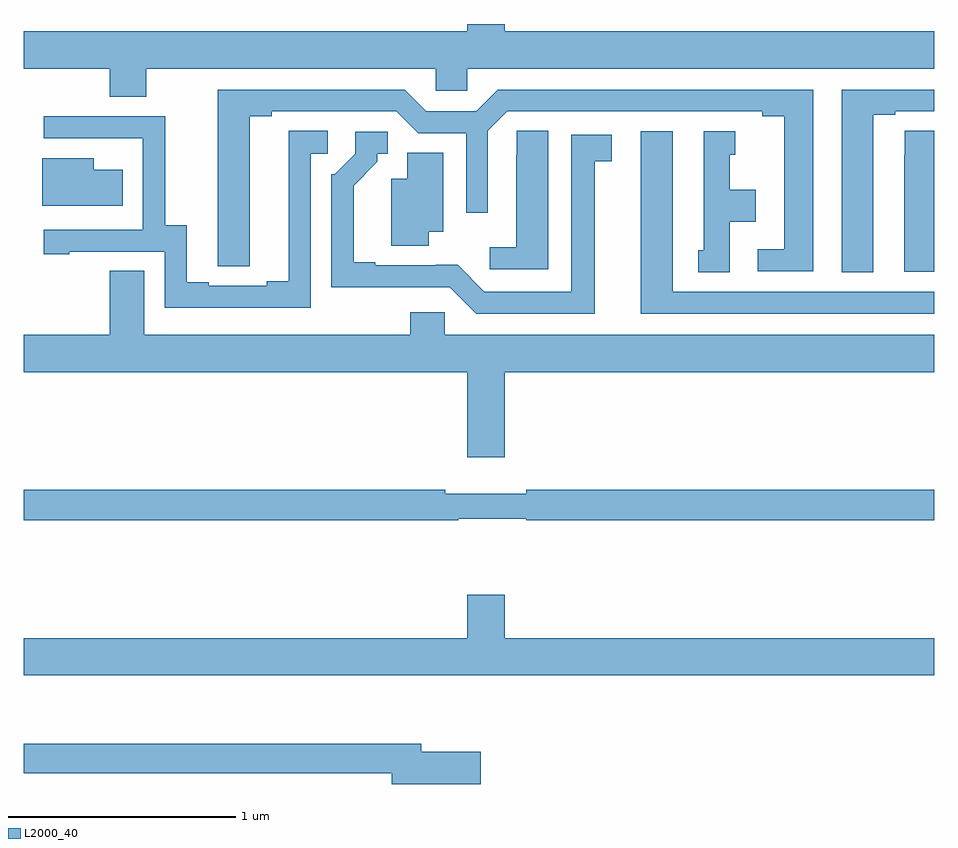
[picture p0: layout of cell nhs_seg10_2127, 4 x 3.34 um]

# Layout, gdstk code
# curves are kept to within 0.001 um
import gdstk
lib = gdstk.Library(unit=1e-6, precision=1e-09)
def P(c, l, *ps):  # polygons
    for p in ps: c.add(gdstk.Polygon(p, *l))
L2000_40 = (2000, 40)

nhs_seg10_2127 = lib.new_cell('nhs_seg10_2127')
P(nhs_seg10_2127, L2000_40, [(223.539,1312.304),(224.811,1312.304),(224.811,1312.206),(224.949,1312.206),(224.949,1312.304),(227,1312.304),(227,1312.468),(225.112,1312.468),(225.112,1312.5),(224.948,1312.5),(224.948,1312.468),(223,1312.468),(223,1312.304),(223.379,1312.304),(223.379,1312.18),(223.539,1312.18)],
  [(226.468,1312.212),(225.083,1312.212),(224.987,1312.116),(224.769,1312.116),(224.673,1312.212),(223.853,1312.212),(223.854,1311.436),(223.993,1311.436),(223.993,1312.096),(224.089,1312.096),(224.089,1312.116),(224.637,1312.116),(224.733,1312.02),(224.943,1312.02),(224.943,1311.672),(225.039,1311.672),(225.039,1312.032),(225.123,1312.116),(226.244,1312.116),(226.244,1312.096),(226.34,1312.096),(226.34,1311.51),(226.224,1311.51),(226.224,1311.414),(226.468,1311.414)],
  [(226.732,1312.101),(226.828,1312.101),(226.828,1312.116),(227,1312.116),(227,1312.212),(226.592,1312.212),(226.592,1311.409),(226.732,1311.409)],
  [(224.262,1311.93),(224.335,1311.93),(224.335,1312.031),(224.165,1312.031),(224.165,1311.371),(224.069,1311.371),(224.069,1311.351),(223.813,1311.351),(223.813,1311.366),(223.717,1311.366),(223.717,1311.617),(223.623,1311.617),(223.623,1312.095),(223.089,1312.095),(223.089,1311.999),(223.523,1311.999),(223.523,1311.998),(223.524,1311.998),(223.524,1311.597),(223.089,1311.597),(223.089,1311.489),(223.201,1311.489),(223.201,1311.501),(223.62,1311.501),(223.62,1311.255),(224.262,1311.255)],
  [(225.304,1312.031),(225.165,1312.031),(225.165,1311.923),(225.164,1311.923),(225.164,1311.52),(225.048,1311.52),(225.048,1311.423),(225.304,1311.423)],
  [(227,1312.031),(226.869,1312.031),(226.869,1311.923),(226.868,1311.923),(226.868,1311.413),(227,1311.413)],
  [(227,1311.324),(225.85,1311.324),(225.85,1312.03),(225.71,1312.03),(225.71,1311.228),(227,1311.228)],
  [(226.102,1311.632),(226.216,1311.632),(226.216,1311.772),(226.102,1311.772),(226.102,1311.927),(226.126,1311.927),(226.126,1312.03),(225.986,1312.03),(225.986,1311.507),(225.962,1311.507),(225.962,1311.409),(226.102,1311.409)],
  [(225.508,1311.898),(225.583,1311.898),(225.583,1312.014),(225.404,1312.014),(225.404,1311.324),(225.024,1311.324),(224.906,1311.442),(224.545,1311.441),(224.545,1311.454),(224.449,1311.454),(224.449,1311.79),(224.554,1311.895),(224.554,1311.93),(224.599,1311.93),(224.599,1312.026),(224.457,1312.026),(224.457,1311.93),(224.367,1311.84),(224.352,1311.84),(224.352,1311.344),(224.871,1311.345),(224.988,1311.228),(225.508,1311.228)],
  [(224.779,1311.587),(224.842,1311.587),(224.842,1311.935),(224.684,1311.935),(224.684,1311.82),(224.615,1311.82),(224.615,1311.526),(224.779,1311.526)],
  [(223.435,1311.859),(223.309,1311.859),(223.309,1311.91),(223.082,1311.91),(223.082,1311.701),(223.435,1311.701)],
  [(225.112,1310.972),(227,1310.972),(227,1311.136),(224.85,1311.136),(224.85,1311.234),(224.699,1311.234),(224.699,1311.136),(223.531,1311.136),(223.531,1311.416),(223.379,1311.416),(223.379,1311.136),(223,1311.136),(223,1310.972),(224.948,1310.972),(224.948,1310.598),(225.112,1310.598)],
  [(224.908,1310.328),(225.208,1310.328),(225.208,1310.32),(227,1310.32),(227,1310.456),(225.208,1310.456),(225.208,1310.437),(224.852,1310.437),(224.852,1310.456),(223,1310.456),(223,1310.32),(224.908,1310.32)],
  [(227,1309.804),(225.112,1309.804),(225.112,1309.993),(224.948,1309.993),(224.948,1309.804),(223,1309.804),(223,1309.64),(227,1309.64)],
  [(225.007,1309.305),(224.746,1309.305),(224.746,1309.339),(223,1309.339),(223,1309.21),(224.618,1309.21),(224.618,1309.163),(225.007,1309.163)])

lib.write_gds('nhs_seg10_2127.gds')
